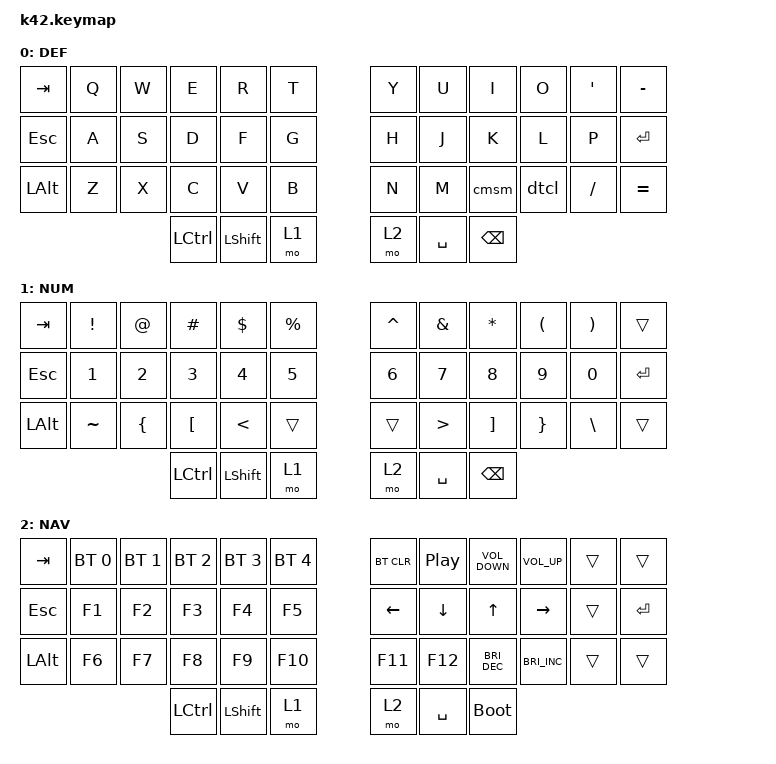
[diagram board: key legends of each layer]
#include <behaviors.dtsi>
#include <dt-bindings/zmk/keys.h>
#include <dt-bindings/zmk/bt.h>
#include <dt-bindings/zmk/pointing.h>

/ {
    behaviors {
        cmsm: comma_semicolon {
            compatible = "zmk,behavior-mod-morph";
            #binding-cells = <0>;
            bindings = <&kp COMMA>, <&kp SEMI>;
            mods = <(MOD_LSFT|MOD_RSFT)>;
        };

        dtcl: dot_colon {
            compatible = "zmk,behavior-mod-morph";
            #binding-cells = <0>;
            bindings = <&kp DOT>, <&kp COLON>;
            mods = <(MOD_LSFT|MOD_RSFT)>;
        };

    };

    keymap {
        compatible = "zmk,keymap";

        default_layer {
            display-name = "DEF";
//-----------------------------------------------------------------------------------
// |  TAB  |   Q   |   W   |   E   |   R   |   T   |   Y   |   U   |   I   |   O   |  ' "  |  - _  |
// |  ESC  |   A   |   S   |   D   |   F   |   G   |   H   |   J   |   K   |   L   |   P   |  RET  |
// |  ALT  |   Z   |   X   |   C   |   V   |   B   |   N   |   M   |  , ;  |  . :  |  / ?  |  = +  |
//                         |  CTR  | SHIFT |  NUM  |  NAV  | SPACE |  BSP  |

                        bindings = <
   &kp TAB  &kp Q &kp W &kp E &kp R &kp T   &kp Y &kp U &kp I &kp O &kp SQT   &kp MINUS
   &kp ESC  &kp A &kp S &kp D &kp F &kp G   &kp H &kp J &kp K &kp L &kp P     &kp RET
   &kp LALT &kp Z &kp X &kp C &kp V &kp B   &kp N &kp M &cmsm &dtcl &kp SLASH &kp EQUAL
               &kp LCTRL &kp LSHIFT &mo 1   &mo 2 &kp SPACE &kp BSPC
                        >;
        };

        lower_layer {
            display-name = "NUM";
//-----------------------------------------------------------------------------------
// |  TAB  |   !   |   @   |   #   |   $   |   %   |   ^   |   &   |   *   |   (   |   )   |       |
// |  ESC  |   1   |   2   |   3   |   4   |   5   |   6   |   7   |   8   |   9   |   0   |  RET  |
// |  ALT  |  ` ~  |   {   |   [   |   <   |       |       |   >   |   ]   |   }   |  \ |  |       |
//                         |  CTR  | SHIFT |  [h]  |  NAV  | SPACE |  BSP  |
                        bindings = <
   &kp TAB  &kp EXCL  &kp AT   &kp HASH &kp DOLLAR &kp PERCENT   &kp CARET &kp AMPERSAND &kp STAR &kp LPAR &kp RPAR &trans
   &kp ESC  &kp N1    &kp N2   &kp N3   &kp N4     &kp N5        &kp N6    &kp N7        &kp N8   &kp N9   &kp N0   &kp RET
   &kp LALT &kp TILDE &kp LBRC &kp LBKT &kp LT     &trans        &trans    &kp GT        &kp RBKT &kp RBRC &kp BSLH &trans
                                    &kp LCTRL &kp LSHIFT &mo 1   &mo 2 &kp SPACE &kp BSPC
                        >;
        };

        raise_layer {
            display-name = "NAV";
//-----------------------------------------------------------------------------------
// |  TAB  | BDEV0 | BDEV1 | BDEV2 | BDEV3 | BDEV4 | MACEL | MDECL | PLAY  | VDOWN |  VUP  |       |
// |  ESC  |       |       |       |       |       | ALEFT | ADOWN | AUP   | ARGHT |       |  RET  |
// |  ALT  |       |       |       |       |       |       |       |       | BDOWN |  BUP  |       |
//                         |  CTR  | SHIFT |  NUM  |  [h]  | SPACE | BTLDR |
                        bindings = <
   &kp TAB  &bt BT_SEL 0 &bt BT_SEL 1 &bt BT_SEL 2 &bt BT_SEL 3 &bt BT_SEL 4 &bt BT_CLR       &kp C_PLAY_PAUSE &kp C_VOLUME_DOWN    &kp C_VOLUME_UP      &trans &trans
   &kp ESC  &kp F1       &kp F2       &kp F3       &kp F4       &kp F5       &kp LEFT_ARROW   &kp DOWN_ARROW   &kp UP_ARROW         &kp RIGHT_ARROW      &trans &kp RET
   &kp LALT &kp F6       &kp F7       &kp F8       &kp F9       &kp F10      &kp F11          &kp F12          &kp C_BRIGHTNESS_DEC &kp C_BRIGHTNESS_INC &trans &trans
                                    &kp LCTRL &kp LSHIFT &mo 1   &mo 2 &kp SPACE  &bootloader
                        >;
        };
    };
};

